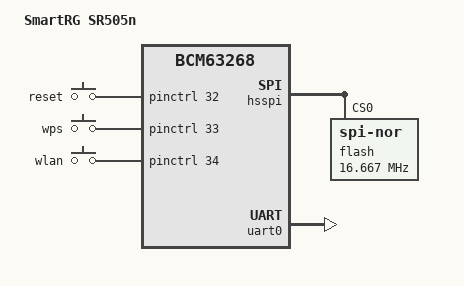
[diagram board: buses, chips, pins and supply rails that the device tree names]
// SPDX-License-Identifier: GPL-2.0-or-later

#include "bcm63268.dtsi"

#include <dt-bindings/input/input.h>

/ {
	model = "SmartRG SR505n";
	compatible = "smartrg,sr505n", "brcm,bcm63168", "brcm,bcm63268";

	chosen {
		bootargs = "rootfstype=squashfs,jffs2 noinitrd console=ttyS0,115200";
		stdout-path = "serial0:115200n8";
	};

	keys {
		compatible = "gpio-keys-polled";
		#address-cells = <1>;
		#size-cells = <0>;
		poll-interval = <20>;
		
		reset {
			label = "reset";
			gpios = <&pinctrl 32 0>;
			linux,code = <KEY_RESTART>;
			debounce-interval = <60>;
		};

		wps {
                        label = "wps";
                        gpios = <&pinctrl 33 0>;
                        linux,code = <KEY_WPS_BUTTON>;
                        debounce-interval = <60>;
                };

		wlan {
                        label = "wlan";
                        gpios = <&pinctrl 34 0>;
                        linux,code = <KEY_WLAN>;
                        debounce-interval = <60>;
                };
	};
};

&leds {
        status = "okay";

	pinctrl-names = "default";
        pinctrl-0 = <&pinctrl_leds>;

	wps_green@1 {
                reg = <1>;
                active-low;
                label = "green:wps";
        };

	inet_green@8 {
                reg = <8>;
                active-low;
                label = "green:inet";
        };

	lan2_green@9 {
		/* EPHY1 Act */
                reg = <9>;
                brcm,hardware-controlled;
        };

	lan3_green@10 {
		/* EPHY2 Act */
                reg = <10>;
                brcm,hardware-controlled;
        };

	lan4_green@11 {
		/* EPHY3 Act */
                reg = <11>;
                brcm,hardware-controlled;
        };

	lan1_green@12 {
		/* GPHY0 Act */
                reg = <12>;
                brcm,hardware-controlled;
        };

	dsl_green@14 {
                reg = <14>;
                active-low;
                label = "green:dsl";
        };

	inet_red@15 {
                reg = <15>;
                active-low;
                label = "red:inet";
        };

	usb_green@16 {
                reg = <16>;
                active-low;
                label = "green:usb";
        };

	power_green@20 {
                reg = <20>;
                active-low;
                label = "green:power";
		default-state = "on";

        };

	power_red@21 {
                reg = <21>;
                active-low;
                label = "red:power";
        };
};

&pinctrl {
        pinctrl_leds: leds {
                function = "led";
                pins = "gpio1", "gpio8", 
		"gpio9", "gpio10",
		"gpio11", "gpio12",
		"gpio14", "gpio15",
		"gpio16", "gpio20",
		"gpio21";
        };
};

&hsspi {
	status = "okay";

	flash@0 {
		compatible = "jedec,spi-nor";
		spi-max-frequency = <16666667>;
		spi-tx-bus-width = <2>;
		spi-rx-bus-width = <2>;
		reg = <0>;

		#address-cells = <1>;
		#size-cells = <1>;

		partitions {
			compatible = "brcm,bcm963xx-cfe-nor-partitions";
		};
	};
};

&uart0 {
	status = "okay";
};
